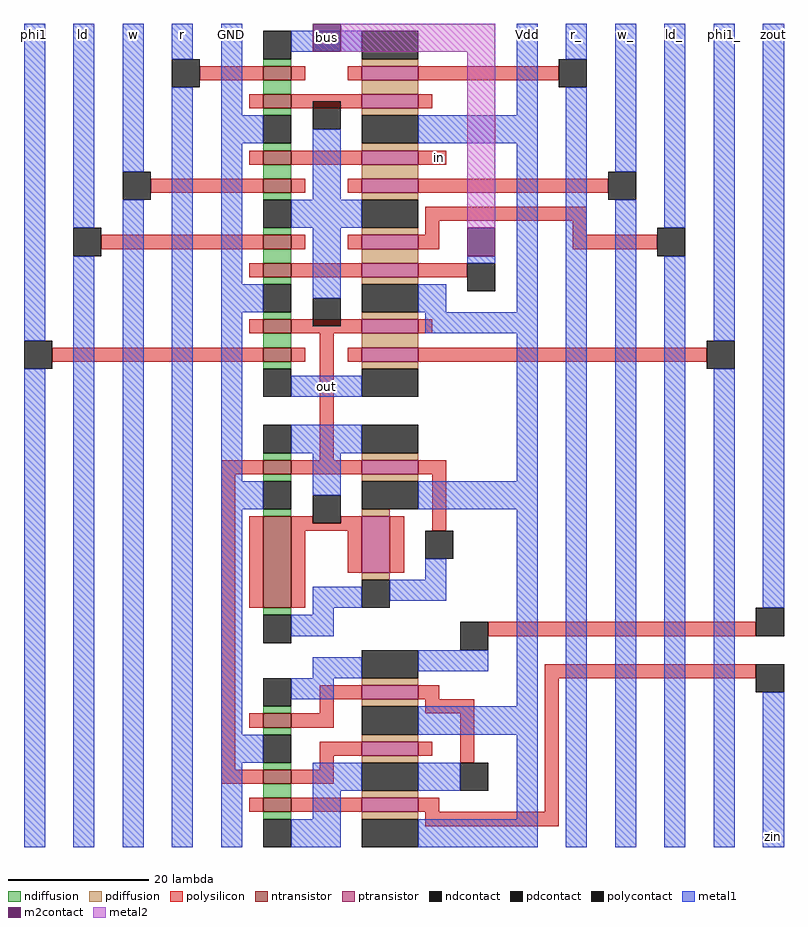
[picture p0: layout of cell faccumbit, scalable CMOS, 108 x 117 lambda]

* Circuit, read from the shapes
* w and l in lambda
.subckt faccumbit GND Vdd bus in ld ld_ out phi1 phi1_ r r_ w w_ zin zout
M1 n1 zin n2 VSUBS nfet w=4 l=2
M2 GND accumbit_0/latch_0/in n1 VSUBS nfet w=4 l=2
M3 zout n2 GND VSUBS nfet w=4 l=2
M4 GND accumbit_0/staticizer_0/inverter_0/out accumbit_0/latch_0/in VSUBS nfet w=4 l=13
M5 accumbit_0/staticizer_0/inverter_0/out accumbit_0/latch_0/in GND VSUBS nfet w=4 l=2
M6 n3 phi1 out VSUBS nfet w=4 l=2
M7 GND accumbit_0/latch_0/in n3 VSUBS nfet w=4 l=2
M8 n4 bus GND VSUBS nfet w=4 l=2
M9 accumbit_0/latch_0/in ld n4 VSUBS nfet w=4 l=2
M10 n5 w accumbit_0/latch_0/in VSUBS nfet w=4 l=2
M11 GND in n5 VSUBS nfet w=4 l=2
M12 n6 accumbit_0/latch_0/in GND VSUBS nfet w=4 l=2
M13 bus r n6 VSUBS nfet w=4 l=2
M14 n2 zin Vdd NWELL pfet w=8 l=2
M15 Vdd accumbit_0/latch_0/in n2 NWELL pfet w=8 l=2
M16 zout n2 Vdd NWELL pfet w=8 l=2
M17 Vdd accumbit_0/staticizer_0/inverter_0/out accumbit_0/latch_0/in NWELL pfet w=4 l=8
M18 accumbit_0/staticizer_0/inverter_0/out accumbit_0/latch_0/in Vdd NWELL pfet w=8 l=2
M19 n7 phi1_ out NWELL pfet w=8 l=2
M20 Vdd accumbit_0/latch_0/in n7 NWELL pfet w=8 l=2
M21 n8 bus Vdd NWELL pfet w=8 l=2
M22 accumbit_0/latch_0/in ld_ n8 NWELL pfet w=8 l=2
M23 n9 w_ accumbit_0/latch_0/in NWELL pfet w=8 l=2
M24 Vdd in n9 NWELL pfet w=8 l=2
M25 n10 accumbit_0/latch_0/in Vdd NWELL pfet w=8 l=2
M26 bus r_ n10 NWELL pfet w=8 l=2
.ends

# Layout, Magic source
magic
tech scmos
<< polysilicon >>
rect 58 68 60 70
rect 28 24 32 26
rect 28 -18 30 24
rect 66 1 104 3
rect 74 -5 104 -3
rect 42 -8 48 -6
rect 56 -8 59 -6
rect 42 -10 44 -8
rect 32 -12 34 -10
rect 38 -12 44 -10
rect 57 -10 64 -8
rect 42 -16 48 -14
rect 56 -16 58 -14
rect 42 -18 44 -16
rect 28 -20 34 -18
rect 38 -20 44 -18
rect 62 -17 64 -10
rect 32 -24 34 -22
rect 38 -24 48 -22
rect 56 -24 59 -22
rect 74 -24 76 -5
rect 57 -26 76 -24
<< ndiffusion >>
rect 34 -10 38 -9
rect 34 -13 38 -12
rect 34 -18 38 -17
rect 34 -22 38 -20
rect 34 -25 38 -24
<< pdiffusion >>
rect 48 -6 56 -5
rect 48 -9 56 -8
rect 48 -14 56 -13
rect 48 -17 56 -16
rect 48 -22 56 -21
rect 48 -25 56 -24
<< metal1 >>
rect 0 85 3 88
rect 7 85 10 88
rect 14 85 17 88
rect 21 85 24 88
rect 28 85 31 88
rect 70 85 73 88
rect 77 85 80 88
rect 84 85 87 88
rect 91 85 94 88
rect 98 85 101 88
rect 41 35 45 38
rect 105 5 108 88
rect 0 -29 3 0
rect 7 -29 10 0
rect 14 -29 17 0
rect 21 -29 24 0
rect 28 -13 31 0
rect 41 -5 48 -2
rect 56 -4 66 -1
rect 38 -8 44 -5
rect 70 -9 73 0
rect 56 -13 73 -9
rect 28 -17 34 -13
rect 28 -29 31 -17
rect 41 -21 48 -17
rect 56 -21 62 -17
rect 41 -25 45 -21
rect 70 -25 73 -13
rect 38 -29 45 -25
rect 56 -29 73 -25
rect 77 -29 80 0
rect 84 -29 87 0
rect 91 -29 94 0
rect 98 -29 101 0
rect 105 -29 108 -7
<< ntransistor >>
rect 34 -12 38 -10
rect 34 -20 38 -18
rect 34 -24 38 -22
<< ptransistor >>
rect 48 -8 56 -6
rect 48 -16 56 -14
rect 48 -24 56 -22
<< polycontact >>
rect 62 -1 66 3
rect 104 1 108 5
rect 62 -21 66 -17
rect 104 -7 108 -3
<< ndcontact >>
rect 34 -9 38 -5
rect 34 -17 38 -13
rect 34 -29 38 -25
<< pdcontact >>
rect 48 -5 56 -1
rect 48 -13 56 -9
rect 48 -21 56 -17
rect 48 -29 56 -25
<< m2contact >>
rect 41 84 45 88
use accumbit  accumbit_0
transform 1 0 35 0 1 69
box -35 -69 66 19
<< labels >>
rlabel metal1 105 -29 108 -26 8 zin
rlabel metal1 105 85 108 88 6 zout
rlabel metal1 0 85 3 88 4 phi1
rlabel metal1 7 85 10 88 5 ld
rlabel metal1 14 85 17 88 5 w
rlabel metal1 21 85 24 88 5 r
rlabel m2contact 41 84 45 88 5 bus
rlabel metal1 28 85 31 88 5 GND
rlabel metal1 70 85 73 88 5 Vdd
rlabel metal1 77 85 80 88 5 r_
rlabel metal1 84 85 87 88 5 w_
rlabel metal1 91 85 94 88 5 ld_
rlabel metal1 98 85 101 88 5 phi1_
rlabel polysilicon 59 69 59 69 1 in
rlabel metal1 41 35 45 38 1 out
<< end >>

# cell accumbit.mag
magic
tech scmos
<< polysilicon >>
rect -10 11 -3 13
rect 23 11 41 13
rect 23 -1 25 1
rect -17 -5 -3 -3
rect 23 -5 48 -3
rect 22 -9 45 -7
rect -24 -13 -3 -11
rect 22 -13 24 -9
rect 43 -11 45 -9
rect 43 -13 55 -11
rect 23 -17 28 -15
rect -31 -29 -3 -27
rect 7 -43 9 -24
rect 23 -29 62 -27
<< metal1 >>
rect -35 -26 -32 19
rect -28 -10 -25 19
rect -21 -2 -18 19
rect -14 14 -11 19
rect -35 -69 -32 -30
rect -28 -69 -25 -14
rect -21 -69 -18 -6
rect -14 -69 -11 10
rect -7 6 -4 19
rect -7 2 -1 6
rect 35 6 38 19
rect 42 14 45 19
rect -7 -18 -4 2
rect -7 -22 -1 -18
rect 6 -20 10 4
rect 21 2 38 6
rect 28 -15 32 -14
rect -7 -46 -4 -22
rect 21 -22 25 -18
rect 35 -22 38 2
rect 22 -25 38 -22
rect 6 -34 10 -31
rect 35 -46 38 -25
rect -7 -50 -1 -46
rect 27 -50 38 -46
rect -7 -69 -4 -50
rect 35 -69 38 -50
rect 42 -69 45 10
rect 49 -2 52 19
rect 49 -69 52 -6
rect 56 -10 59 19
rect 56 -69 59 -14
rect 63 -26 66 19
rect 63 -69 66 -30
<< metal2 >>
rect 10 15 32 19
rect 28 -10 32 15
<< polycontact >>
rect -14 10 -10 14
rect 41 10 45 14
rect 6 4 10 8
rect -21 -6 -17 -2
rect 48 -6 52 -2
rect -28 -14 -24 -10
rect 55 -14 59 -10
rect 28 -19 32 -15
rect 6 -24 10 -20
rect -35 -30 -31 -26
rect 62 -30 66 -26
<< m2contact >>
rect 6 15 10 19
rect 28 -14 32 -10
use latch  latch_0
transform 0 1 -1 1 0 8
box -6 -2 10 24
use latch  latch_1
transform 0 1 -1 -1 0 0
box -6 -2 10 24
use latch  latch_3
transform 0 1 -1 1 0 -16
box -6 -2 10 24
use latch  latch_2
transform 0 1 -1 -1 0 -24
box -6 -2 10 24
use staticizer  staticizer_0
transform 0 1 -5 1 0 -50
box -19 2 12 32
<< labels >>
rlabel metal1 35 16 38 19 6 Vdd
rlabel metal1 6 -34 10 -31 1 out
rlabel metal1 -7 16 -4 19 4 GND
rlabel m2contact 6 15 10 19 5 bus
rlabel metal1 -14 16 -11 19 5 r
rlabel metal1 42 16 45 19 5 r_
rlabel polysilicon 24 0 24 0 1 in
rlabel metal1 -21 16 -18 19 5 w
rlabel metal1 49 16 52 19 5 w_
rlabel metal1 56 16 59 19 5 ld_
rlabel metal1 -28 16 -25 19 5 ld
rlabel metal1 -35 16 -32 19 4 phi1
rlabel metal1 63 16 66 19 6 phi1_
<< end >>

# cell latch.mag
magic
tech scmos
<< polysilicon >>
rect -1 22 1 24
rect 3 22 5 24
rect -1 4 1 14
rect 3 12 5 14
rect 3 4 5 6
rect -1 -2 1 0
rect 3 -2 5 0
<< ndiffusion >>
rect -2 0 -1 4
rect 1 0 3 4
rect 5 0 6 4
<< pdiffusion >>
rect -2 14 -1 22
rect 1 14 3 22
rect 5 14 6 22
<< metal1 >>
rect 7 4 10 14
<< ntransistor >>
rect -1 0 1 4
rect 3 0 5 4
<< ptransistor >>
rect -1 14 1 22
rect 3 14 5 22
<< ndcontact >>
rect -6 0 -2 4
rect 6 0 10 4
<< pdcontact >>
rect -6 14 -2 22
rect 6 14 10 22
<< labels >>
rlabel polysilicon 3 22 5 24 5 latch_
rlabel polysilicon 3 -2 5 0 1 latch
rlabel pdcontact -6 14 -2 22 3 Vdd
rlabel ndcontact -6 0 -2 4 2 GND
rlabel polysilicon -1 8 1 10 1 in
rlabel metal1 7 8 10 10 7 out
<< end >>

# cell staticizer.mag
magic
tech scmos
<< polysilicon >>
rect -3 28 7 30
rect -9 22 -1 24
rect -9 16 -1 18
rect -3 15 -1 16
rect -3 11 -2 15
rect -3 10 -1 11
rect -14 8 -1 10
rect -14 2 -1 4
<< ndiffusion >>
rect -15 4 -14 8
rect -1 4 0 8
<< pdiffusion >>
rect -10 18 -9 22
rect -1 18 0 22
<< metal1 >>
rect -13 27 -7 30
rect -13 22 -10 27
rect 0 26 4 32
rect -14 14 -11 18
rect -18 11 -11 14
rect 2 11 12 15
rect -18 8 -15 11
<< ntransistor >>
rect -14 4 -1 8
<< ptransistor >>
rect -9 18 -1 22
<< polycontact >>
rect -7 27 -3 31
rect -2 11 2 15
<< ndcontact >>
rect -19 4 -15 8
rect 0 4 4 8
<< pdcontact >>
rect -14 18 -10 22
rect 0 18 4 26
use inverter  inverter_0
transform 1 0 5 0 1 -3
box -5 5 7 31
<< labels >>
rlabel metal1 0 28 4 32 5 Vdd
rlabel ndcontact 0 4 4 8 1 GND
rlabel polycontact -7 27 -3 31 5 in
<< end >>

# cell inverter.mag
magic
tech scmos
<< polysilicon >>
rect 0 29 2 31
rect 0 11 2 21
rect 0 5 2 7
<< ndiffusion >>
rect -1 7 0 11
rect 2 7 3 11
<< pdiffusion >>
rect -1 21 0 29
rect 2 21 3 29
<< metal1 >>
rect 3 11 7 21
<< ntransistor >>
rect 0 7 2 11
<< ptransistor >>
rect 0 21 2 29
<< ndcontact >>
rect -5 7 -1 11
rect 3 7 7 11
<< pdcontact >>
rect -5 21 -1 29
rect 3 21 7 29
<< labels >>
rlabel metal1 5 16 5 16 7 out
<< end >>
